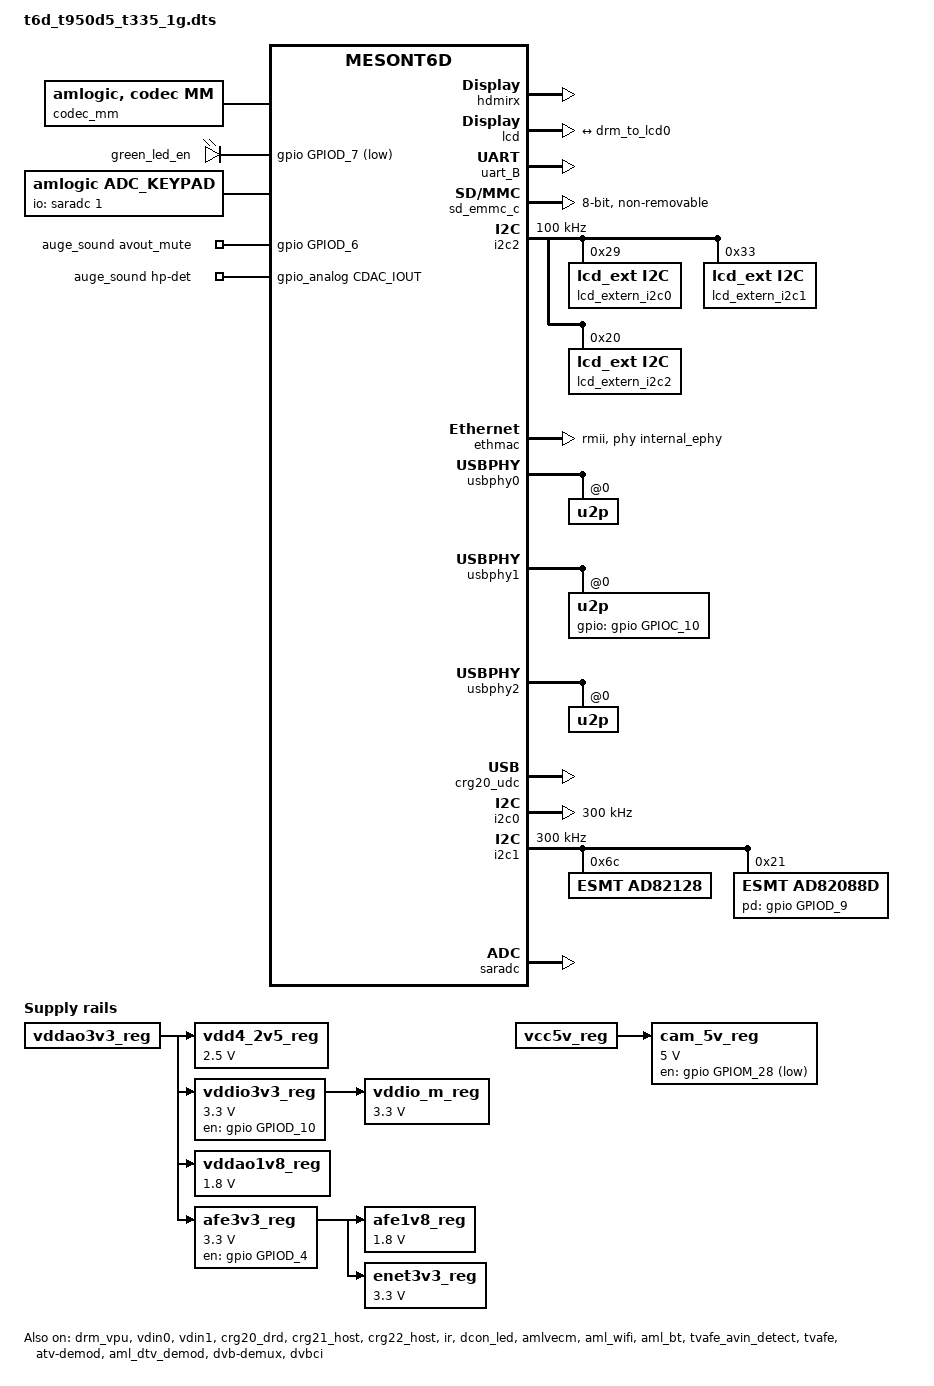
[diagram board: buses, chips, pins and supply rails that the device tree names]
// SPDX-License-Identifier: (GPL-2.0+ OR MIT)
/*
 * Copyright (c) 2019 Amlogic, Inc. All rights reserved.
 */

/dts-v1/;

#include "mesont6d.dtsi"
#include "hdr10plus.dtsi"
#include "mesont6d_drm.dtsi"
#include "firmware_ab.dtsi"
#include "mesont6d-panel.dtsi"
#include "mesont6d_audio.dtsi"

/ {
	amlogic-dt-id = "t6d_t950d5_t335-1g";
	compatible = "t6d_t950d5_t335-1g";
	interrupt-parent = <&gic>;
	#address-cells = <1>;
	#size-cells = <1>;

	aliases {
		serial0 = &uart_B;
		serial1 = &uart_A;
		serial2 = &uart_C;
		tsensor0 = &cpu_tsensor;
		tsensor1 = &top_tsensor;
		spi0 = &spi_nfc;
		spi1 = &spicc0;
		spi2 = &spicc1;
		i2c0 = &i2c0;
		i2c1 = &i2c1;
		i2c2 = &i2c2;
		i2c3 = &i2c3;
	};

	memory@0 {
		device_type = "memory";
		linux,usable-memory = <0x0 0x40000000>;
	};

	reserved-memory {
		#address-cells = <1>;
		#size-cells = <1>;
		ranges;

		/* global autoconfigured region for contiguous allocations */
		ramdump_bl33z {
			compatible = "shared-dma-pool";
			size = <0x01800000>;
			alignment = <0x00400000>;
			alloc-ranges = <0x05000000 0x07000000>;
			linux,contiguous-region;
			no-map;
			status = "disabled";
		};

		ramdump_data@0 {
			reg = <0x0 0x0>;
			status = "disabled"; /* disabled as default */
		};

		ramoops@6300000 {
			compatible = "ramoops";
			reg = <0x06300000 0x00100000>;
			record-size = <0x20000>;
			console-size = <0x40000>;
			ftrace-size = <0x80000>;
			pmsg-size = <0x20000>;
		};

		dmc_reserved:linux,dmc_monitor {
			compatible = "amlogic,dmc_monitor-reserved";
			reg = <0x0 0x0>;
		};

		debug_reserved:linux,iotrace {
			compatible = "amlogic, iotrace";
			reg = <0x04f00000 0x00100000>;
			io-size = <0x1b000>;
			sched-size = <0x2000>;
			irq-size = <0x1000>;
			smc-size = <0x1000>;
			misc-size = <0x1000>;
		};

		secmon_reserved:linux,secmon {
			compatible = "shared-dma-pool";
			no-map;
			alignment = <0x00100000>;
			reg = <0x05000000 0x01300000>;
		};

		logo_reserved:linux,meson-fb {
			compatible = "amlogic, meson-fb";
			size = <0x400000>;
			alignment = <0x400000>;
			reg = <0x3f800000 0x800000>;
		};

		lcd_cma_reserved:linux,lcd-reserved {
			compatible = "amlogic, lcd_rsvd";
			reg = <0x3f000000 0x00410000>;
			tcon-size = <0x00402840>;
		};

		dmaheap_cma_reserved:heap-gfx {
			compatible = "shared-dma-pool";
			reusable;
			size = <0x0>;
			alignment = <0x400000>;
		};
		dmaheap_fb_reserved:heap-fb {
			compatible = "shared-dma-pool";
			reusable;
			/* 720p TV android size 16M */
			size = <0x1000000>;
			alignment = <0x400000>;
		};

		/*  vdin0 CMA pool */
		/*vdin0_cma_reserved:linux,vdin0_cma {*/
		/*	compatible = "shared-dma-pool";*/
		/*	reusable;*/
			/* up to 1920x1080 yuv422 8bit and 5 buffers
			 * 1920x1080x2x5 = 20 M
			 */
		/*	size = <0x0 0x01400000>;*/
		/*	alignment = <0x0 0x400000>;*/
		/*};*/
		/*  vdin1 CMA pool */
		vdin1_cma_reserved:linux,vdin1_cma {
			compatible = "shared-dma-pool";
			reusable;
			size = <0x0>;
			alignment = <0x400000>;
		};

		codec_mm_cma:linux,codec_mm_cma {
			compatible = "shared-dma-pool";
			reusable;
			/*
			 * Scenario: DVB-T2 2K interlace HEVC
			 * Total size: 106M
			 * Note:
			 *  setting to 108M if scatter_alloc_mode is 0.
			 *  setting to 108M if scatter_alloc_mode is 1.
			 */
			size = <0x6c00000>;
			alignment = <0x400000>;
			alloc-ranges = <0x30000000 0x10000000>;
			linux,contiguous-region;
		};

		secure_vdec_reserved:linux,secure_vdec_reserved {
			compatible = "amlogic, secure-vdec-reserved";
			no-map;
			size = <0x400000>;
			alignment = <0x100000>;
		};

		/* global autoconfigured region for contiguous allocations */
		linux,cma {
			compatible = "shared-dma-pool";
			reusable;
			size = <0x400000>;
			alignment = <0x400000>;
			alloc-ranges = <0x30000000 0x10000000>;
			linux,cma-default;
		};
	};

	vdd4_2v5_reg: fixed@vdd4_2v5_reg {
		compatible = "regulator-fixed";
		vin-supply = <&vddao3v3_reg>;
		regulator-name = "DDR4_2V5";
		regulator-min-microvolt = <2500000>;
		regulator-max-microvolt = <2500000>;
		regulator-boot-on;
		regulator-always-on;
	};

	vddio3v3_reg: fixed@vddio3v3_reg {
		vin-supply = <&vddao3v3_reg>;
		compatible = "regulator-fixed";
		regulator-name = "VDDIO_3.3V";
		regulator-min-microvolt = <3300000>;
		regulator-max-microvolt = <3300000>;
		pinctrl-names = "default";
		gpio = <&gpio GPIOD_10 GPIO_ACTIVE_HIGH>;
		startup-delay-us = <7000>;
		enable-active-high;
		regulator-boot-on;
		regulator-always-on;
	};

	vddao1v8_reg: fixed@vddao1v8_reg {
		vin-supply = <&vddao3v3_reg>;
		compatible = "regulator-fixed";
		regulator-name = "VDDAO_1V8/VDDIO_B";
		regulator-min-microvolt = <1800000>;
		regulator-max-microvolt = <1800000>;
		regulator-boot-on;
		regulator-always-on;
	};

	vddio_m_reg: fixed@afe3v3_reg {
		vin-supply = <&vddio3v3_reg>;
		compatible = "regulator-fixed";
		regulator-name = "VDDIO_M";
		regulator-min-microvolt = <3300000>;
		regulator-max-microvolt = <3300000>;
		regulator-boot-on;
		regulator-always-on;
	};

	afe1v8_reg: fixed@afe1v8_reg {
		vin-supply = <&afe3v3_reg>;
		compatible = "regulator-fixed";
		regulator-name = "AFE_1V8";
		regulator-min-microvolt = <1800000>;
		regulator-max-microvolt = <1800000>;
		regulator-boot-on;
		regulator-always-on;
	};

	afe3v3_reg: fixed@afe3v3_reg {
		vin-supply = <&vddao3v3_reg>;
		compatible = "regulator-fixed";
		regulator-name = "AFE_3V3";
		regulator-min-microvolt = <3300000>;
		regulator-max-microvolt = <3300000>;
		pinctrl-names = "default";
		gpio = <&gpio GPIOD_4 GPIO_ACTIVE_HIGH>;
		startup-delay-us = <7000>;
		enable-active-high;
		regulator-boot-on;
		regulator-always-on;
	};

	enet3v3_reg: fixed@enet3v3_reg {
		vin-supply = <&afe3v3_reg>;
		compatible = "regulator-fixed";
		regulator-name = "AVDD33_ENET";
		regulator-min-microvolt = <3300000>;
		regulator-max-microvolt = <3300000>;
		regulator-boot-on;
		regulator-always-on;
	};

	cam_5v_reg: fixed@cam_5v_reg {
		compatible = "regulator-fixed";
		vin-supply = <&vcc5v_reg>;
		regulator-name = "CAM_5V_EN";
		regulator-min-microvolt = <5000000>;
		regulator-max-microvolt = <5000000>;
		//gpio OD , Default OFF
		gpio = <&gpio GPIOM_28 (GPIO_ACTIVE_HIGH | GPIO_OPEN_DRAIN)>;
		startup-delay-us = <7000>;
		enable-active-low;
		regulator-boot-on;
		//regulator-always-on;
	};

	codec_mm {
		compatible = "amlogic, codec, mm";
		memory-region = <&codec_mm_cma &secure_vdec_reserved>;
		dev_name = "codec_mm";
		status = "okay";
		/* secure memory controller para <switch  align_2n> */
		secure_ctrl_para = <1 16>;
		/*
		 * scatter_alloc_mode: the mode of scatter memory allocation
		 * 0: default mode, alloc from system and cma
		 * 1: only alloc from system
		 */
		scatter_alloc_mode = <1>;
	};

	video_queue {
		compatible = "amlogic, video_queue";
		dev_name = "videoqueue";
		status = "okay";
	};

	amlvideo2_0 {
		compatible = "amlogic, amlvideo2";
		dev_name = "amlvideo2";
		status = "okay";
		amlvideo2_id = <0>;
		cma_mode = <1>;
	};

	amlvideo2_1 {
		compatible = "amlogic, amlvideo2";
		dev_name = "amlvideo2";
		status = "okay";
		amlvideo2_id = <1>;
		cma_mode = <1>;
	};

	tvafe_avin_detect {
		compatible = "amlogic, t6d_tvafe_avin_detect";
		status = "okay";
		device_mask = <1>;/*bit0:ch1;bit1:ch2*/
		reg = <0xfe00a000 0x400>; /* cvbs irq base */
		interrupts = <0 173 1>;
	};

	tvafe {
		compatible = "amlogic, tvafe-t6d";
		/*memory-region = <&tvafe_cma_reserved>;*/
		status = "okay";
		flag_cma = <1>;/*1:share with codec_mm;0:cma alone*/
		cma_size = <5>;/*MByte*/
		reg = <0xfe072000 0x2000/*tvafe reg base*/
			0xfe008000 0x2000>; /*ana reg base*/
		reserve-iomap = "true";
		tvafe_id = <0>;
		//pinctrl-names = "default";
		/*!!particular sequence, no more and no less!!!*/
		tvafe_pin_mux = <
				3 /* TVAFE_CVBS_IN2, CVBS_IN0 = 0 */
				1 /* TVAFE_CVBS_IN0, CVBS_IN1 */
				2 /* TVAFE_CVBS_IN1, CVBS_IN2 */
				4 /* TVAFE_CVBS_IN3, CVBS_IN3 */
		>;
		clocks = <&clkc CLKID_CDAC_CLK>;
		clock-names = "vdac_clk_gate";
		cutwindow_val_h = <0 0 0 0 8>; /* level 0~4 */
		cutwindow_val_v = <4 8 14 16 24>;  /* level 0~4 */
		horizontal_dir0 = <148 148 148 148 148>;
		horizontal_dir1 = <148 168 166 160 148>;
		horizontal_stp0 = <0 0 0 0 0>;
		horizontal_stp1 = <0 0 0 0 0>;
	};

	vbi {
		compatible = "amlogic, vbi";
		status = "okay";
		interrupts = <0 210 1>;
	};

	multi-di {
		/***************************************************
		 * memory: default is 4
		 *	0:use reserved;
		 *	1:use cma;
		 *	2:use cma as reserved
		 *  4:use codec mem
		 ***************************************************/
		flag_cma = <4>;//
		//memory-region = <&di_cma_reserved>;
		/***************************************************
		 * clock-range: <min max>
		 *	default: <334 667>
		 ***************************************************/
		//clock-range = <334 667>;
		/***************************************************
		 * en_4k: t5w support 4k
		 ***************************************************/
		//en_4k = <1>;
		//keep_dec_vf = <2>;
		//po_fmt = <6>;
		/***************************************************
		 * post_nub: default is 11 (T7/T3/SC2/S4 new path)
		 * local 7*4075520 = 28
		 * post 11*5222400 = 56 //??
		 ***************************************************/
		post_nub = <11>;
		/***************************************************
		 * 0:not support
		 * bit 0: for 4k
		 * bit 1: for 1080p
		 ***************************************************/
		//alloc_sct = <1>;
		/***************************************************
		 * hf: default is 0 (T7/T3/SC2/S4 new path)
		 * 0:not enable;
		 * 1: enable
		 ***************************************************/
		hf = <0>;
		//afbce_loss_en = <1>;
		/***************************************************
		 * loss mode for di out (T5w)
		 * 0:not set loss mode for di out;
		 * 1:1:check the loss flag in vf and set for di
		 ***************************************************/
	};/* end of multi-di */

	gpioleds {
		compatible = "gpio-leds";
		status = "okay";
		SYS_LED {
			label ="green_led_en";
			gpios = <&gpio GPIOD_7 GPIO_ACTIVE_LOW>;
			default-state ="on";
		};
	};

	/* for external keypad */
	adc_keypad {
		compatible = "amlogic, adc_keypad";
		status = "okay";
		key_name = "power","ch-","ch+","vol-","vol+";
		key_num = <5>;
		io-channels = <&saradc 1>;
		io-channel-names = "key-chan-1";
		key_chan = <SARADC_CH1 SARADC_CH1 SARADC_CH1
			    SARADC_CH1 SARADC_CH1>;
		key_code = <KEY_POWER KEY_CHANNELDOWN KEY_CHANNELUP
			    KEY_VOLUMEDOWN KEY_VOLUMEUP>;
		key_val = <0 459 269 820 660>; // Unit: millivolt
		key_tolerance = <70 70 70 70 70>; // Unit: millivolt
	};

	unifykey {
		compatible = "amlogic,unifykey";
		status = "okay";

		unifykey-num = <13>;
		unifykey-index-0 = <&keysn_0>;
		unifykey-index-1 = <&keysn_1>;
		unifykey-index-2 = <&keysn_2>;
		unifykey-index-3 = <&keysn_3>;
		unifykey-index-4 = <&keysn_4>;
		unifykey-index-5 = <&keysn_5>;
		unifykey-index-6 = <&keysn_6>;
		unifykey-index-7 = <&keysn_7>;
		unifykey-index-8 = <&keysn_8>;
		unifykey-index-9 = <&keysn_9>;
		unifykey-index-10 = <&keysn_10>;
		unifykey-index-11 = <&keysn_11>;
		unifykey-index-12 = <&keysn_12>;

		keysn_0: key_0{
			key-name = "usid";
			key-device = "normal";
			key-permit = "read","write","del";
		};
		keysn_1:key_1{
			key-name = "mac";
			key-device  = "normal";
			key-permit = "read","write","del";
		};
		keysn_2:key_2{
			key-name = "secure_boot_set";
			key-device = "efuse";
			key-permit = "write";
		};
		keysn_3:key_3{
			key-name = "mac_bt";
			key-device = "normal";
			key-permit = "read","write","del";
			key-type  = "mac";
		};
		keysn_4:key_4{
			key-name = "mac_wifi";
			key-device = "normal";
			key-permit = "read","write","del";
			key-type  = "mac";
		};
		keysn_5:key_5{
			key-name = "hdcp2_rx";
			key-device = "normal";
			key-permit = "read","write","del";
		};
		keysn_6:key_6{
			key-name = "deviceid";
			key-device = "normal";
			key-permit = "read","write","del";
		};
		keysn_7:key_7{
			key-name = "lcd";
			key-device = "normal";
			key-permit = "read","write","del";
		};
		keysn_8:key_8{
			key-name = "lcd_extern";
			key-device = "normal";
			key-permit = "read","write","del";
		};
		keysn_9:key_9{
			key-name = "backlight";
			key-device = "normal";
			key-permit = "read","write","del";
		};
		keysn_10:key_10{
			key-name = "lcd_tcon";
			key-device = "normal";
			key-permit = "read","write","del";
		};
		keysn_11:key_11{
			key-name = "lcd_tcon_spi";
			key-device = "normal";
			key-permit = "read","write","del";
		};
		keysn_12:key_12{
			key-name = "oemkey";
			key-device = "normal";
			key-permit = "read","write","del";
		};
	}; /* End unifykey */

	hdmirx {
		compatible = "amlogic, hdmirx_t6d";
		#address-cells=<1>;
		#size-cells=<1>;
		/*memory-region = <&hdmirx_emp_cma_reserved>;*/
		status = "okay";
		pinctrl-names = "hdmirx_pins";
		pinctrl-0 = <&hdmirx_a_mux &hdmirx_b_mux
			&hdmirx_c_mux>;
		repeat = <0>;
		/*power-domains = <&pwrdm PDIP_T6D_VPU_HDMI>;*/
		interrupts = <0 57 IRQ_TYPE_LEVEL_HIGH>;
		clocks =<&clkc CLKID_HDMIRX_CFG>,
			<&clkc CLKID_HDMIRX_ACR>,
			<&clkc CLKID_HDMIRX_METER>,
			<&clkc CLKID_HDMIRX_2M>,
			<&clkc CLKID_HDMIRX_5M>,
			<&clkc CLKID_HDMIRX_HDCP>,
			<&xtal>,
			<&clkc CLKID_FCLK_DIV4>,
			<&clkc CLKID_FCLK_DIV5>;
		clock-names = "hdmirx_cfg_clk",
				"cts_hdmirx_acr_ref_clk",
				"cts_hdmirx_meter_clk",
				"cts_hdmirx_2m_clk",
				"cts_hdmirx_5m_clk",
				"cts_hdmirx_hdcp2x_eclk",
				"xtal",
				"fclk_div4",
				"fclk_div5";
		//power-domains = <&pwrdm 2>;
		hdmirx_id = <0>;
		en_4k_2_2k = <0>;
		hpd_low_cec_off = <1>;
		arc_port = <0>;
		vrr_range_dynamic_update_en = <1>;
		/* bit4: enable feature, bit3~0: port number */
		disable_port = <0x0>;
		/* MAP_ADDR_MODULE_CBUS */
		/* MAP_ADDR_MODULE_HIU */
		/* MAP_ADDR_MODULE_HDMIRX_CAPB3 */
		/* MAP_ADDR_MODULE_SEC_AHB */
		/* MAP_ADDR_MODULE_SEC_AHB2 */
		/* MAP_ADDR_MODULE_APB4 */
		/* MAP_ADDR_MODULE_TOP */
		/* MAP_ADDR_MODULE_CLK_CTRL */
		/* MAP_ADDR_MODULE_ANA_CTRL */
		reg = < 0x0 0x0
			0x0 0x0
			0x0 0x0
			0x0 0x0
			0x0 0x0
			0x0 0x0
			0xfe398000 0x18000
			0xfe000000 0x1fff
			0xfe008000 0x334>;
	};

	/* Audio Related start */
	auge_sound {
		compatible = "amlogic, auge-sound-card";
		aml-audio-card,name = "AML-AUGESOUND";

		/*spk_mute-gpios = <&gpio GPIOD_9 GPIO_ACTIVE_LOW>;*/
		/*spk_mute_sleep_time = <800>;*/

		avout_mute-gpios = <&gpio GPIOD_6 GPIO_ACTIVE_HIGH>;

		/* headphone insert det */
		hp-det-gpios = <&gpio_analog CDAC_IOUT GPIO_ACTIVE_HIGH>;

		interrupts = <GIC_SPI 149 IRQ_TYPE_EDGE_RISING>;
		interrupt-names = "audio_exception64";

		aml-audio-card,dai-link@0 {
			format = "i2s";
			mclk-fs = <256>;
			//continuous-clock;
			//bitclock-inversion;
			//frame-inversion;
			/* master mode */
			bitclock-master = <&tdma>;
			frame-master = <&tdma>;
			/* slave mode */
			/*
			 * bitclock-master = <&tdmacodec>;
			 * frame-master = <&tdmacodec>;
			 */
			/* suffix-name, sync with android audio hal used for */
			suffix-name = "alsaPORT-pcm";
			tdmacpu: cpu {
				sound-dai = <&tdma>;
				dai-tdm-slot-tx-mask =
							<1 1>;
				dai-tdm-slot-rx-mask =
							<1 1>;
				dai-tdm-slot-num = <2>;
				dai-tdm-slot-width = <32>;
				system-clock-frequency = <12288000>;
			};
			tdmacodec: codec {
				sound-dai = <&dummy_codec>;
			};
		};

		aml-audio-card,dai-link@1 {
			format = "i2s";
			mclk-fs = <256>;
			continuous-clock;
			//bitclock-inversion;
			//frame-inversion;
			/* master mode */
			bitclock-master = <&tdmb>;
			frame-master = <&tdmb>;
			/* slave mode */
			//bitclock-master = <&tdmbcodec>;
			//frame-master = <&tdmbcodec>;
			/* suffix-name, sync with android audio hal used for */
			suffix-name = "alsaPORT-i2s-i2s4hdmirx";
			cpu {
				sound-dai = <&tdmb>;
				dai-tdm-slot-tx-mask = <1 1>;
				dai-tdm-slot-rx-mask = <1 1>;
				dai-tdm-slot-num = <2>;
				dai-tdm-slot-width = <32>;
				system-clock-frequency = <12288000>;
			};
			tdmbcodec: codec {
				prefix-names = "AMP";
				sound-dai = <&ad82088d &acodec>;
			};
		};

		aml-audio-card,dai-link@2 {
			format = "i2s";
			mclk-fs = <256>;
			//continuous-clock;
			//bitclock-inversion;
			//frame-inversion;
			/* master mode */
			bitclock-master = <&tdmc>;
			frame-master = <&tdmc>;
			/* slave mode */
			//bitclock-master = <&tdmccodec>;
			//frame-master = <&tdmccodec>;
			/* suffix-name, sync with android audio hal used for */
			suffix-name = "alsaPORT-i2s4parser";
			cpu {
				sound-dai = <&tdmc>;
				dai-tdm-slot-tx-mask = <1 1>;
				dai-tdm-slot-rx-mask = <1 1>;
				dai-tdm-slot-num = <2>;
				dai-tdm-slot-width = <32>;
				system-clock-frequency = <12288000>;
			};
			tdmccodec: codec {
				sound-dai = <&dummy_codec>;
			};
		};

		aml-audio-card,dai-link@3 {
			mclk-fs = <64>;
			/* suffix-name, sync with android audio hal used for */
			suffix-name = "alsaPORT-pdm-builtinmic";
			cpu {
				sound-dai = <&pdma>;
			};
			codec {
				sound-dai = <&dummy_codec>;
			};
		};

		aml-audio-card,dai-link@4 {
			mclk-fs = <128>;
			continuous-clock;
			/* suffix-name, sync with android audio hal used for */
			suffix-name = "alsaPORT-spdif";
			cpu {
				sound-dai = <&spdifa>;
				system-clock-frequency = <6144000>;
			};
			codec {
				sound-dai = <&dummy_codec>;
			};
		};

		aml-audio-card,dai-link@5 {
			mclk-fs = <128>;
			continuous-clock;
			suffix-name = "alsaPORT-spdifb";
			cpu {
				sound-dai = <&spdifb>;
				system-clock-frequency = <6144000>;
			};
			codec {
				sound-dai = <&dummy_codec>;
			};
		};

		aml-audio-card,dai-link@6 {
			mclk-fs = <256>;
			suffix-name = "alsaPORT-tv";
			cpu {
				sound-dai = <&extn>;
				system-clock-frequency = <12288000>;
			};
			codec {
				sound-dai = <&dummy_codec>;
			};
		};

		aml-audio-card,dai-link@7 {
			mclk-fs = <256>;
			continuous-clock;
			suffix-name = "alsaPORT-loopback";
			cpu {
				sound-dai = <&loopbacka>;
				system-clock-frequency = <12288000>;
			};
			codec {
				sound-dai = <&dummy_codec>;
			};
		};
	};
	/* Audio Related end */

	atv-demod {
		compatible = "amlogic, atv-demod";
		status = "okay";
		btsc_sap_mode = <1>;
		interrupts = <0 94 1>;
		pinctrl-names="atvdemod_agc_pins";
		pinctrl-0=<&atvdemod_agc_pins>;
		reg = <0xfe0be000 0x2000    // demod reg
				0xfe000000 0x2000   // hiu reg
				0x0 0x0             // periphs reg
				0xfe0bc000 0x2000>; // adec reg
		common_agc = <1>;
	};

	aml_dtv_demod {
		compatible = "amlogic, ddemod-t6d";
		dev_name = "aml_dtv_demod";
		status = "okay";
		diseqc_name = "TMI8037";
		pinctrl-names="if_agc_pins", "diseqc_out", "rf_agc_pins";
		pinctrl-0=<&dtvdemod_if_agc_pins>;
		pinctrl-1=<&diseqc_out>;
		pinctrl-2=<&dtvdemod_rf_agc_pins>;
		//pinctrl-3=<&diseqc_in>;
		lnb_en-gpios = <&gpio GPIOZ_2 GPIO_ACTIVE_HIGH>;
		lnb_sel-gpios = <&gpio GPIOZ_3 GPIO_ACTIVE_HIGH>;
		interrupts = <GIC_SPI 87 IRQ_TYPE_EDGE_RISING>;
		interrupt-names = "demod_isr";
		power-domains = <&pwrdm PDID_T6D_DEMOD>;
		clocks = <&clkc CLKID_DEMOD_32K>;
		clock-names = "demod_32k";
		reg = <0xfe310000 0x10000	//dtv demod base
			   0xfe000000 0x2000	//hiu reg base
			   0xff800000 0x40000	//io_aobus_base
			   0xfe002000 0x2000>;	//reset

		spectrum = <1>;
		cma_mem_size = <16>; // MB
	};

	dvb-extern {
		compatible = "amlogic, dvb-extern";
		dev_name = "dvb-extern";
		status = "okay";

		fe_num = <1>;
		fe0_demod = "internal";

		tuner_num = <2>; // tuner number, multi tuner support
		tuner0_name = "r842_tuner";
		tuner0_i2c_adap = <&i2c0>;
		tuner0_i2c_addr = <0xF6>; // 8 bits
		tuner0_xtal = <1>;       // 0: 16MHz, 1: 24MHz
		tuner0_xtal_mode = <0>;  // NO_SHARE_XTAL(0), SLAVE_XTAL_SHARE(3)
		tuner0_xtal_cap = <38>;

		tuner1_name = "rt710_tuner";
		tuner1_i2c_adap = <&i2c0>;
		tuner1_i2c_addr = <0xF4>; // 8 bits
		tuner1_xtal = <0>;       // 0: 16MHz, 1: 24MHz
		tuner1_xtal_mode = <0>;  // NO_SHARE_XTAL(0), SLAVE_XTAL_SHARE(3)
		tuner1_xtal_cap = <30>;
	};

	dvb-demux {
		compatible = "amlogic sc2, dvb-demux"; /* same as sc2 */
		dev_name = "dvb-demux";
		status = "okay";

		reg = <0xfe000000 0x480000>;

		dmxdev_num = <0x11>;

		tsn_from = "demod";
		ts_clone = <0x0>;
		/*single demod setting */
		ts1_sid = <0x21>;
		ts1 = "parallel";
		ts1_control = <0x0>;
		ts1_invert = <0>;

		ts2_sid = <0x22>;
		ts2 = "parallel";
		ts2_control = <0x0>;
		ts2_invert = <0>;
		pinctrl-names = "p_ts1";
		pinctrl-0 = <&dvb_p_ts1_pins>;
	};

	dvbci {
		compatible = "amlogic, dvbci";
		dev_name = "dvbci";
		status = "okay";

		io_type = <4>; /* 0=iobus,1=spi,2=cimax,3=spi-t312 4:T5D,ci bus*/
		addr_ts_mode_multiplex = <0>; /*AY301 not multi ts and addr,default 1*/
		le_enable_level = <0>; /*LE pin enable level*/
		/*gpio pin define*/
		pinctrl-names= "ci_ts_pins", "ci_addr_pins";
		pinctrl-0=<&dvb_ci_bus_pins_all &ci_ts_pins &ci_ts_clk_pins>;
		pinctrl-1=<&dvb_ci_bus_pins &ci_addr_pins &ci_gpio_pins>;
		reg = <0xFE080000 0x1FFF>;
		vcc5v-supply = <&cam_5v_reg>;
		/*irq define, t5m not use these irq*/
		//interrupts = <0 186 1
		//		0 187 1>;
		//interrupt-names = "irq_cmp",
		//			"irq_timeout";
		dvbci_io {
			/*gpio define  GPIOM_27 GPIOM_28 GPIOM_30*/
			cd_pin1 = <&gpio       GPIOM_27       GPIO_ACTIVE_HIGH>;
			//pwr_pin = <&gpio       GPIOM_28       GPIO_ACTIVE_HIGH>;
			le_pin = <&gpio       GPIOM_29       GPIO_ACTIVE_HIGH>;
		};
	};

	smartcard {
		compatible = "amlogic,smartcard-sc2";
		dev_name = "smartcard";
		status = "disabled"; /* disabled as default */

		reg = <0xfe000000 0x480000>;
		irq_trigger_type = "GPIO_IRQ_LOW";

		reset_pin-gpios = <&gpio GPIOZ_3 GPIO_ACTIVE_HIGH>;
		detect_pin-gpios = <&gpio GPIOM_27 GPIO_ACTIVE_HIGH>;
		enable_5v3v_pin-gpios = <&gpio GPIOM_28 GPIO_ACTIVE_HIGH>;
		enable_pin-gpios = <&gpio GPIOZ_2 GPIO_ACTIVE_HIGH>;

		interrupts = <0 174 1>;
		interrupt-names = "smc0_irq";
		/*
		 *Smc clock source, if change this,
		 *you must adjust clk and divider in smartcard.c
		 */
		smc0_clock_source = <0>;
		/*0: high voltage on detect pin indicates card in.*/
		smc0_det_invert = <0>;
		smc0_5v3v_level = <0>;
		/*Ordinarily,smartcard controller needs a enable pin.*/
		smc_need_enable_pin = "yes";
		reset_level = <0>;
		smc0_enable_level = <0>;

		pinctrl-names = "default";
		pinctrl-0 = <&sd_iso7816_pins>;

		clocks = <&clkc CLKID_SC_CLK>;
		clock-names = "smartcard";
	};
}; /* end of / */

&drm_vpu {
	status = "okay";
	logo_addr = "0x3f800000";

	connectors_dev: port@1 {
		drm_to_lcd0: endpoint@1 {
			reg = <1>;
			remote-endpoint = <&lcd0_to_drm>;
		};
	};
};

&lcd {
	ports {
		port {
			#address-cells = <1>;
			#size-cells = <0>;
			lcd0_to_drm: endpoint@0 {
				reg = <0>;
				remote-endpoint = <&drm_to_lcd0>;
			};
		};
	};
};

&uart_B {
	status = "okay";
};

/*if you want to use vdin just modify status to "ok"*/
&vdin0 {
	/*memory-region = <&vdin0_cma_reserved>;*/
	status = "okay";
	/*MByte, if 10bit disable: 64M(YUV422),
	 *if 10bit enable: 64*1.5 = 96M(YUV422)
	 *if support 4K2K-YUV444-10bit-WR:3840*2160*4*4 ~= 128M
	 *if support 4K2K-YUV422-10bit-wr:3840*2160*3*4 ~= 96M
	 *if support 4K2K-YUV422-8BIT-WR:3840*2160*2*4 ~= 64M
	 *if support 1080p-YUV422-8BIT-WR:1920*1080*2*4 ~= 16M
	 * onebuffer:
	 * worst case:(4096*2160*3 + 2M(afbce issue)) = 27.5M
	 * dw:960x540x3 = 1.5M
	 * total size:(27.5+1.5)x buffernumber
	 */
	cma_size = <330>;
	frame_buff_num = <10>;
};

&vdin1 {
	memory-region = <&vdin1_cma_reserved>;
	status = "okay";
};

&sd_emmc_c {
	status = "okay";
	pinctrl-0 = <&emmc_pins>, <&emmc_ds_pins>;
	pinctrl-1 = <&emmc_clk_gate_pins>;
	pinctrl-names = "default", "clk-gate";

	bus-width = <8>;
	cap-mmc-highspeed;
	//mmc-ddr-1_8v;
	mmc-hs200-1_8v;
	mmc-hs400-1_8v;
	max-frequency = <200000000>;
	non-removable;
	disable-wp;
//	amlogic,dram-access-quirk;

//	mmc-pwrseq = <&emmc_pwrseq>;
//	vmmc-supply = <&vddao_3v3>;
//	vqmmc-supply = <&vddao_1v8>;
};

&mtd_nand {
	status = "disabled"; /* disabled as default */
	#address-cells = <1>;
	#size-cells = <0>;

	pinctrl-names = "nand_norb_mod","nand_cs_only";
	pinctrl-0 = <&all_nand_pins>;
	pinctrl-1 = <&nand_cs_pins>;
	bl_mode = <2>;
	fip_copies = <4>;
	fip_size = <0x200000>;
	ship_bad_block = <1>;
	disa_irq_flag = <1>;
	nand@0 {
		reg = <0>;
		#address-cells = <1>;
		#size-cells = <1>;
		nand-ecc-maximize;
	};
};

&spi_nfc {
	status = "disabled";
	pinctrl-names = "default";
	pinctrl-0 = <&spinf_pins>;
	spi-nand@0 {
		compatible = "spi-nand";
		status = "disabled";
		reg = <0>;
		spi-max-frequency = <83000000>;
		spi-tx-bus-width = <4>;
		spi-rx-bus-width = <4>;
	};
	spi-nor@0 {
		compatible = "spi-nor";
		status = "disabled";
		reg = <0>;
		spi-tx-bus-width = <4>;
		spi-rx-bus-width = <4>;
		spi-max-frequency = <83000000>;
	};
};

&periphs_pinctrl {
	/*backlight*/
	bl_pwm_vs_on_pins:bl_pwm_vs_on_pin {
		mux {
			groups = "pwm_vs_h12";
			function = "pwm_vs";
		};
	};
	bl_pwm_off_pins:bl_pwm_off_pin {
		mux {
			groups = "GPIOH_12";
			function = "gpio_periphs";
			output-low;
		};
	};
	ST6451D06_3_pins: ST6451D06_3_pin {
		mux {
			groups = "tcon_1","tcon_2","tcon_3",
				"tcon_4","tcon_5","tcon_6",
				"tcon_8","tcon_lock";
			function = "tcon";
		};
	};
	ST6451D06_3_off_pins: ST6451D06_3_off_pin {
		mux {
			groups = "GPIOH_1","GPIOH_2","GPIOH_3",
				"GPIOH_4","GPIOH_5","GPIOH_6",
				"GPIOH_8", "GPIOH_0";
				function = "gpio_periphs";
			input-enable;
		};
	};
	ST5461D18_2_pins: ST5461D18_2_pin {
		mux {
			groups = "tcon_1","tcon_2","tcon_3",
				"tcon_4","tcon_5","tcon_6",
				"tcon_8","tcon_lock";
			function = "tcon";
		};
	};
	ST5461D18_2_off_pins: ST5461D18_2_off_pin {
		mux {
			groups = "GPIOH_1","GPIOH_2","GPIOH_3",
				"GPIOH_4","GPIOH_5","GPIOH_6",
				"GPIOH_8","GPIOH_0";
				function = "gpio_periphs";
			input-enable;
		};
	};
};

&i2c2 {
	status = "okay";
	clock-frequency = <100000>;
	pinctrl-names="default";
	pinctrl-0=<&i2c2_pins2>;

	lcd_extern_i2c0: lcd_extern_i2c@29 {
		compatible = "lcd_ext, i2c";
		dev_name = "i2c_HV650LS";
		reg = <0x29>;
		status = "okay";
	};

	lcd_extern_i2c1: lcd_extern_i2c@33 {
		compatible = "lcd_ext, i2c";
		dev_name = "i2c_CS602";
		reg = <0x33>;
		status = "okay";
	};

	lcd_extern_i2c2: lcd_extern_i2c@20 {
		compatible = "lcd_ext, i2c";
		dev_name = "i2c_CS901";
		reg = <0x20>;
		status = "okay";
	};
};

&ethmac {
	status = "okay";
	phy-handle = <&internal_ephy>;
	phy-mode = "rmii";
};

&usbphy0 {
	status = "okay";
	u2p@0 {
		status = "okay";
		port-speed = <0x0>; /* 0~2: HS HSP SS */
		/* clk src mux.
		 * HS: 0 is the only valid selector.
		 * HSP: 0: 48m soc-digital clk(default).
		 * [1~3]: phyclk/soc-digital/soc-analog.
		 * NOTE:
		 * For option 0&2&3, the assigned-clocks props MUST be included.
		 */
		clk-mux = <0x0>;
		controller-type = <1>; /* 0~3: normal, host, device, otg */
	};
};

&usbphy1 {
	status = "okay";
	u2p@0 {
		status = "okay";
		gpio-vbus-power = "GPIOC_10";
		gpios = <&gpio GPIOC_10 GPIO_ACTIVE_HIGH>;
	};
};

&usbphy2 {
	status = "okay";
	u2p@0 {
		status = "okay";
		port-speed = <0x0>; /* 0~2: HS HSP SS */
		clk-mux = <0x0>;
	};
};

&crg20_drd{
	status = "okay";
};

&crg20_udc{
	status = "okay";
};

&crg21_host{
	status = "okay";
};

&crg22_host{
	status = "okay";
};

&spicc0 {	//for TCON
	status = "disabled";/* disabled as default */
	pinctrl-names = "default";
	pinctrl-0 = <&spicc0_pins_h>;
};

&spicc1 {	//for UWB/LocalDimm
	status = "disabled";/* disabled as default */
	pinctrl-names = "default";
	pinctrl-0 = <&spicc1_pins_z>;
};

&ir {
	status = "okay";
	pinctrl-names = "default";
	pinctrl-0 = <&remote_pins>;
};

&ir1 {
	status = "disabled"; /* disabled as default */
	pinctrl-names = "default";
	pinctrl-0 = <&remote_b_pins>;
};

&dcon_led {
	status = "okay";
	led_number = <2>;
	pinctrl-names = "default";
	pinctrl-0 = <&dcon_led_pins1>;
	// polarity-inversed;
};

&i2c0 {
	status = "okay";
	clock-frequency = <300000>;
	pinctrl-names="default";
	pinctrl-0=<&i2c0_pins1>;
};

&i2c1 {
	status = "okay";
	pinctrl-names = "default";
	pinctrl-0 = <&i2c1_pins1>;
	clock-frequency = <300000>;
	ad82128: ad82128@6c {
		compatible = "ESMT,ad82128";
		#sound-dai-cells = <0>;
		//reset_pin-gpios = <&gpio GPIOD_9 GPIO_ACTIVE_HIGH>;
		reg = <0x6c>;
		status = "okay";
	};

	ad82088d: ad82088d@21 {
		compatible = "ESMT,ad82088d";
		#sound-dai-cells = <0>;
		pd-gpio = <&gpio GPIOD_9 GPIO_ACTIVE_HIGH>;
		reg = <0x21>;
		status = "okay";
	};
};

&saradc {
	status = "okay";
};

&vdac {
	cdac_disable = <1>;
};

&amlvecm {
	compatible = "amlogic, vecm-t6d";
	dev_name = "aml_vecm";
	status = "okay";
	gamma_en = <1>;/*1:enable ;0:disable*/
	wb_en = <1>;/*1:enable ;0:disable*/
	cm_en = <1>;/*1:enable ;0:disable*/
	wb_sel = <0>;/*1:mtx ;0:gainoff*/
	osd_pic_en = <1>;/*1:enable osd picture setting;0:disable*/
	vlock_en = <1>;/*1:enable;0:disable*/
	vlock_mode = <0x8>;
	//vrr_priority = <1>;/*1:game mode vrr always on;0:vrr on depend on vrr signal*/
	/*vlock work mode:
	 *bit0:auto ENC
	 *bit1:auto PLL
	 *bit2:manual PLL
	 *bit3:manual ENC
	 *bit4:manual soft ENC
	 *bit5:manual MIX PLL ENC
	 */
	vlock_pll_m_limit = <1>;
	vlock_line_limit = <2>;
	interrupts = <0 207 1>;
	interrupt-names = "lc_curve";
};

&aml_wifi{
	status = "okay";
	power_on-gpios = <&gpio   GPIOD_11  GPIO_ACTIVE_HIGH>;
	disable-wifi-32k;
};

&aml_bt {
	status = "okay";
	bt_en-gpios = <&gpio  GPIOD_11  GPIO_ACTIVE_HIGH>;
	hostwake-gpios = <&gpio  GPIOD_13  GPIO_ACTIVE_HIGH>;
	btwakeup-gpios = <&gpio  GPIOD_8  GPIO_ACTIVE_HIGH>;
	power_down_disable = <1>;
};

&tdmb {
	pinctrl-names = "tdm_pins","tdm_gpio";
	pinctrl-0 = <
			&tdmb_pin
			&tdm_d0_pins
			&tdmb_clk_pins>;
	pinctrl-1 = <&tdmb_gpio>;
};

&pdma {
	pinctrl-names = "pdm_pins";
	pinctrl-0 = <&pdmin>;
};

&spdifa {

		pinctrl-names = "spdif_pins",
			"spdif_pins_mute";
		pinctrl-0 = <&spdifout_a>;
		pinctrl-1 = <&spdifout_a_mute>;
};

&spdifb {
		pinctrl-names = "spdif_pins",
			"spdif_pins_mute";
		pinctrl-0 = <&spdifout_b>;
		pinctrl-1 = <&spdifout_b_mute>;
};

&acodec {
	dat0_ch_sel = <2>;
	output_type = <0x3>;
};
